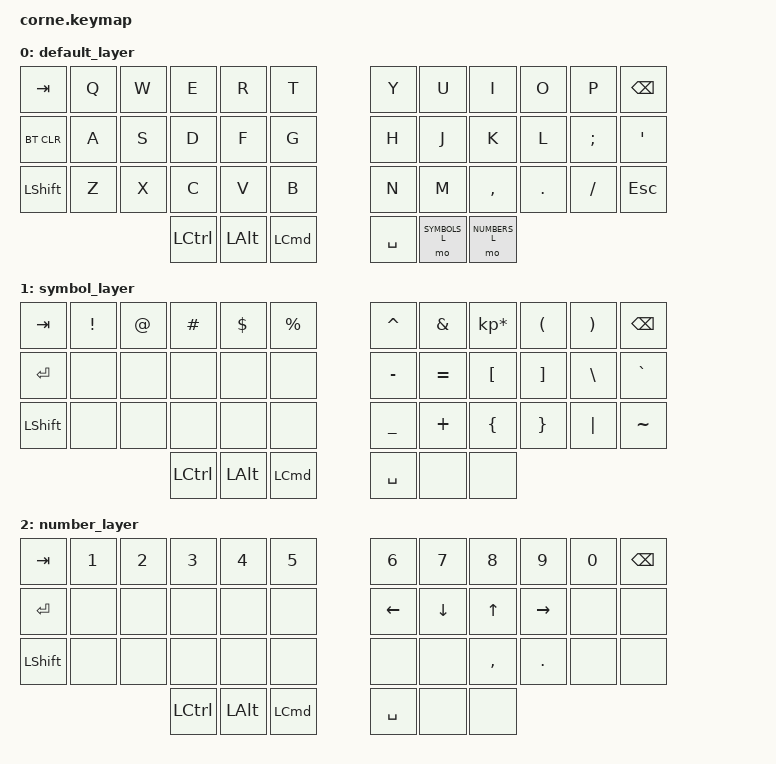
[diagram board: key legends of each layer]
/*
 * Copyright (c) 2020 The ZMK Contributors
 *
 * SPDX-License-Identifier: MIT
 */

#include <behaviors.dtsi>
#include <dt-bindings/zmk/keys.h>
#include <dt-bindings/zmk/bt.h>

#define DEFAULT_L 0
#define SYMBOLS_L 1
#define NUMBERS_L 2

/ {
        keymap {
                compatible = "zmk,keymap";

                default_layer {
// -----------------------------------------------------------------------------------------
// |  TAB |  Q  |  W  |  E  |  R  |  T  |   |  Y  |  U   |  I  |  O  |  P  | BKSP |
// |  RET |  A  |  S  |  D  |  F  |  G  |   |  H  |  J   |  K  |  L  |  ;  |  '   |
// | SHFT |  Z  |  X  |  C  |  V  |  B  |   |  N  |  M   |  ,  |  .  |  /  | ESC  |
//                    |CTRL | ALT | CMD |   | SPC | sym  | num |
                        bindings = <
   &kp TAB   &kp Q &kp W &kp E &kp R  &kp T       &kp Y &kp U     &kp I     &kp O   &kp P    &kp BACKSPACE
   &bt BT_CLR   &kp A &kp S &kp D &kp F  &kp G       &kp H &kp J     &kp K     &kp L   &kp SEMI &kp SQT
   // THIS SHOULD BE A TEMPORARY FIX -- REVERT THIS CHANGE IF IT WORKS
   &kp LSHFT &kp Z &kp X &kp C &kp V  &kp B       &kp N &kp M     &kp COMMA &kp DOT &kp FSLH &kp ESC
                   &kp LCTRL &kp LALT &kp LCMD    &kp SPACE &mo SYMBOLS_L &mo NUMBERS_L
                        >;
                };

                symbol_layer {
// -----------------------------------------------------------------------------------------
// |  TAB |  !  |  @  |  #  |  $  |  %  |   |  ^  |  &  |  *  |  (  |  )  | BKSP |
// |  RET |     |     |     |     |     |   |  -  |  =  |  [  |  ]  |  \  |  `   |
// | SHFT |     |     |     |     |     |   |  _  |  +  |  {  |  }  | "|" |  ~   |
//                    |CTRL | ALT | CMD |   | SPC |     |     |
                        bindings = <
   &kp TAB   &kp EXCL &kp AT &kp HASH  &kp DLLR &kp PRCNT   &kp CARET &kp AMPS  &kp KP_MULTIPLY &kp LPAR &kp RPAR &kp BACKSPACE
   &kp RET   &none    &none  &none     &none    &none       &kp MINUS &kp EQUAL &kp LBKT        &kp RBKT &kp BSLH &kp GRAVE
   &kp LSHFT &none    &none  &none     &none    &none       &kp UNDER &kp PLUS  &kp LBRC        &kp RBRC &kp PIPE &kp TILDE
                             &kp LCTRL &kp LALT &kp LCMD    &kp SPACE &none     &none
                        >;
                };

                number_layer {
// -----------------------------------------------------------------------------------------
// |  TAB |  1  |  2  |  3  |  4  |  5  |   |  6  |  7  |  8  |  9  |  0  | BKSP |
// |  RET |     |     |     |     |     |   | LFT | DWN |  UP | RGT |     |      |
// | SHFT |     |     |     |     |     |   |     |     |  ,  |  .  |     |      |
//                    |CTRL | ALT | CMD |   | SPC |     |     |
                        bindings = <
   &kp TAB    &kp N1   &kp N2   &kp N3     &kp N4   &kp N5         &kp N6    &kp N7    &kp N8    &kp N9    &kp N0   &kp BACKSPACE
   &kp RET    &none    &none    &none      &none    &none          &kp LEFT  &kp DOWN  &kp UP    &kp RIGHT &none    &none
   &kp LSHFT  &none    &none    &none      &none    &none          &none     &none     &kp COMMA &kp DOT   &none    &none
                                &kp LCTRL  &kp LALT &kp LCMD       &kp SPACE &none     &none
                        >;
                };
        };
};
